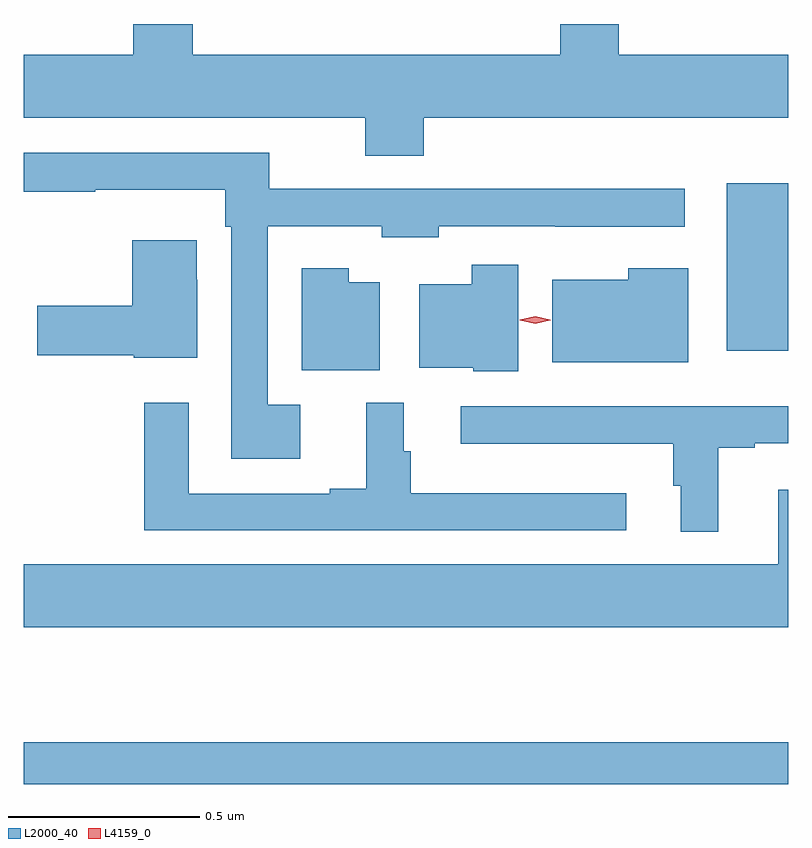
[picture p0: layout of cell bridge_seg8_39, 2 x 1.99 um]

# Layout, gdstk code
import gdstk
lib = gdstk.Library(unit=1e-6, precision=1e-09)
def R(c, l, rs):  # rectangles x0, y0, x1, y1
    for r in rs: c.add(gdstk.rectangle(r[:2], r[2:], *l))
def P(c, l, *ps):  # polygons
    for p in ps: c.add(gdstk.Polygon(p, *l))
L2000_40 = (2000, 40)
L4159_0 = (4159, 0)

bridge_seg8_39 = lib.new_cell('bridge_seg8_39')
R(bridge_seg8_39, L2000_40, [(1025.328,1132.074,1027.328,1132.183), (1027.166,1133.207,1027.328,1133.644)])
P(bridge_seg8_39, L2000_40, [(1026.374,1133.816),(1027.328,1133.816),(1027.328,1133.98),(1026.884,1133.98),(1026.884,1134.061),(1026.731,1134.061),(1026.731,1133.98),(1025.771,1133.98),(1025.771,1134.061),(1025.615,1134.061),(1025.615,1133.98),(1025.328,1133.98),(1025.328,1133.816),(1026.221,1133.816),(1026.221,1133.717),(1026.374,1133.717)],
  [(1026.052,1133.065),(1025.967,1133.065),(1025.967,1133.532),(1026.264,1133.532),(1026.264,1133.504),(1026.414,1133.504),(1026.414,1133.532),(1026.718,1133.532),(1026.718,1133.531),(1027.057,1133.531),(1027.057,1133.63),(1025.97,1133.63),(1025.97,1133.724),(1025.328,1133.724),(1025.328,1133.623),(1025.516,1133.623),(1025.516,1133.627),(1025.855,1133.627),(1025.855,1133.531),(1025.871,1133.531),(1025.871,1132.925),(1026.052,1132.925)],
  [(1025.782,1133.393),(1025.781,1133.393),(1025.781,1133.496),(1025.612,1133.496),(1025.612,1133.325),(1025.364,1133.325),(1025.364,1133.195),(1025.616,1133.195),(1025.616,1133.189),(1025.782,1133.189)],
  [(1026.622,1133.431),(1026.5,1133.431),(1026.5,1133.38),(1026.362,1133.38),(1026.362,1133.162),(1026.504,1133.162),(1026.504,1133.153),(1026.622,1133.153)],
  [(1027.066,1133.422),(1026.909,1133.422),(1026.909,1133.392),(1026.71,1133.392),(1026.71,1133.177),(1027.066,1133.177)],
  [(1026.259,1133.386),(1026.178,1133.386),(1026.178,1133.422),(1026.056,1133.422),(1026.056,1133.156),(1026.259,1133.156)],
  [(1026.904,1132.834),(1026.341,1132.834),(1026.341,1132.944),(1026.322,1132.944),(1026.322,1133.071),(1026.224,1133.071),(1026.224,1132.846),(1026.128,1132.846),(1026.128,1132.833),(1025.76,1132.833),(1025.76,1133.071),(1025.644,1133.071),(1025.644,1132.737),(1026.904,1132.737)],
  [(1027.144,1132.953),(1027.24,1132.953),(1027.24,1132.965),(1027.328,1132.965),(1027.328,1133.062),(1027.17,1133.062),(1027.17,1133.061),(1026.471,1133.061),(1026.471,1132.964),(1027.027,1132.964),(1027.027,1132.854),(1027.046,1132.854),(1027.046,1132.733),(1027.144,1132.733)],
  [(1027.328,1132.843),(1027.301,1132.843),(1027.301,1132.648),(1025.328,1132.648),(1025.328,1132.484),(1027.328,1132.484)])
P(bridge_seg8_39, L4159_0, [(1026.666,1133.277),(1026.626,1133.287),(1026.626,1133.287),(1026.626,1133.288),(1026.666,1133.297),(1026.705,1133.288),(1026.706,1133.287),(1026.705,1133.287)])

lib.write_gds('bridge_seg8_39.gds')
